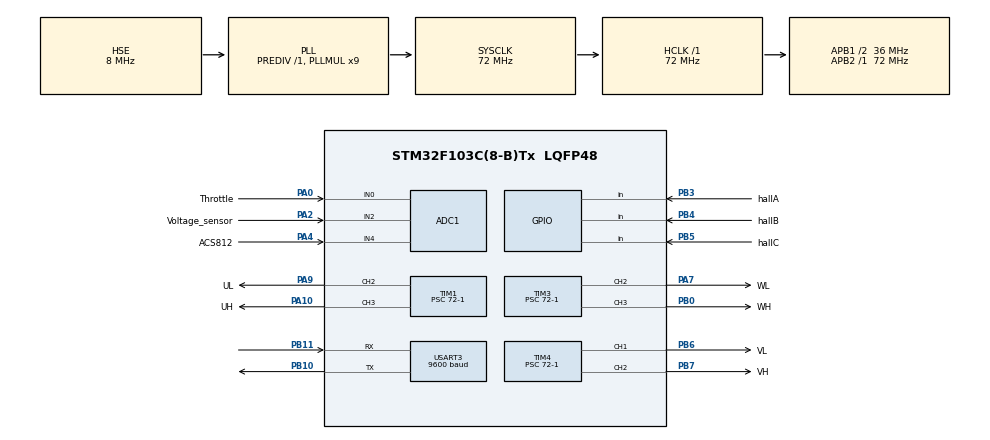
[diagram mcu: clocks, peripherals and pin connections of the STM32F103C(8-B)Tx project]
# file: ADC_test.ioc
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ADC1.Channel-0\#ChannelRegularConversion=ADC_CHANNEL_0
ADC1.Channel-3\#ChannelRegularConversion=ADC_CHANNEL_2
ADC1.Channel-4\#ChannelRegularConversion=ADC_CHANNEL_4
ADC1.ContinuousConvMode=ENABLE
ADC1.NbrOfConversion=3
ADC1.NbrOfConversionFlag=1
ADC1.Rank-0\#ChannelRegularConversion=1
ADC1.Rank-3\#ChannelRegularConversion=2
ADC1.Rank-4\#ChannelRegularConversion=3
ADC1.SamplingTime-0\#ChannelRegularConversion=ADC_SAMPLETIME_239CYCLES_5
ADC1.SamplingTime-3\#ChannelRegularConversion=ADC_SAMPLETIME_239CYCLES_5
ADC1.SamplingTime-4\#ChannelRegularConversion=ADC_SAMPLETIME_239CYCLES_5
ADC1.master=1
Dma.ADC1.0.Direction=DMA_PERIPH_TO_MEMORY
Dma.ADC1.0.Instance=DMA1_Channel1
Dma.ADC1.0.MemDataAlignment=DMA_MDATAALIGN_HALFWORD
Dma.ADC1.0.MemInc=DMA_MINC_ENABLE
Dma.ADC1.0.Mode=DMA_CIRCULAR
Dma.ADC1.0.PeriphDataAlignment=DMA_PDATAALIGN_HALFWORD
Dma.ADC1.0.PeriphInc=DMA_PINC_DISABLE
Dma.ADC1.0.Priority=DMA_PRIORITY_LOW
Dma.Request0=ADC1
Mcu.Family=STM32F1
Mcu.Name=STM32F103C(8-B)Tx
Mcu.Package=LQFP48
NVIC.ADC1_2_IRQn=true\:1\:0\:true\:false\:true\:true\:true\:true
NVIC.DMA1_Channel1_IRQn=true\:0\:0\:false\:false\:true\:false\:true\:true
NVIC.PriorityGroup=NVIC_PRIORITYGROUP_4
PA0-WKUP.GPIO_Label=Throttle
PA0-WKUP.Signal=ADCx_IN0
PA10.GPIO_Label=UH
PA10.Signal=S_TIM1_CH3
PA13.Mode=Serial_Wire
PA13.Signal=SYS_JTMS-SWDIO
PA14.Mode=Serial_Wire
PA14.Signal=SYS_JTCK-SWCLK
PA2.GPIO_Label=Voltage_sensor
PA2.Signal=ADCx_IN2
PA4.GPIO_Label=ACS812
PA4.Signal=ADCx_IN4
PA7.GPIO_Label=WL
PA7.Signal=S_TIM3_CH2
PA9.GPIO_Label=UL
PA9.Signal=S_TIM1_CH2
PB0.GPIO_Label=WH
PB0.Signal=S_TIM3_CH3
PB10.Mode=Asynchronous
PB10.Signal=USART3_TX
PB11.Mode=Asynchronous
PB11.Signal=USART3_RX
PB3.GPIO_Label=hallA
PB3.Signal=GPIO_Input
PB4.GPIO_Label=hallB
PB4.Signal=GPIO_Input
PB5.GPIO_Label=hallC
PB5.Signal=GPIO_Input
PB6.GPIO_Label=VL
PB6.Signal=S_TIM4_CH1
PB7.GPIO_Label=VH
PB7.Signal=S_TIM4_CH2
PD0-OSC_IN.Mode=HSE-External-Oscillator
PD0-OSC_IN.Signal=RCC_OSC_IN
PD1-OSC_OUT.Mode=HSE-External-Oscillator
PD1-OSC_OUT.Signal=RCC_OSC_OUT
ProjectManager.HeapSize=0x200
ProjectManager.StackSize=0x400
ProjectManager.TargetToolchain=STM32CubeIDE
RCC.ADCPresc=RCC_ADCPCLK2_DIV6
RCC.AHBFreq_Value=72000000
RCC.APB1CLKDivider=RCC_HCLK_DIV2
RCC.APB1Freq_Value=36000000
RCC.APB1TimFreq_Value=72000000
RCC.APB2Freq_Value=72000000
RCC.APB2TimFreq_Value=72000000
RCC.HCLKFreq_Value=72000000
RCC.PLLMUL=RCC_PLL_MUL9
RCC.PLLSourceVirtual=RCC_PLLSOURCE_HSE
RCC.SYSCLKFreq_VALUE=72000000
RCC.SYSCLKSource=RCC_SYSCLKSOURCE_PLLCLK
RCC.USBFreq_Value=72000000
SH.ADCx_IN0.0=ADC1_IN0,IN0
SH.ADCx_IN2.0=ADC1_IN2,IN2
SH.ADCx_IN4.0=ADC1_IN4,IN4
SH.S_TIM1_CH2.0=TIM1_CH2,PWM Generation2 CH2
SH.S_TIM1_CH3.0=TIM1_CH3,PWM Generation3 CH3
SH.S_TIM3_CH2.0=TIM3_CH2,PWM Generation2 CH2
SH.S_TIM3_CH3.0=TIM3_CH3,PWM Generation3 CH3
SH.S_TIM4_CH1.0=TIM4_CH1,PWM Generation1 CH1
SH.S_TIM4_CH2.0=TIM4_CH2,PWM Generation2 CH2
TIM1.AutoReloadPreload=TIM_AUTORELOAD_PRELOAD_ENABLE
TIM1.Channel-PWM\ Generation2\ CH2=TIM_CHANNEL_2
TIM1.Channel-PWM\ Generation3\ CH3=TIM_CHANNEL_3
TIM1.Period=100
TIM1.Prescaler=72-1
TIM2.Prescaler=72-1
TIM3.AutoReloadPreload=TIM_AUTORELOAD_PRELOAD_ENABLE
TIM3.Channel-PWM\ Generation2\ CH2=TIM_CHANNEL_2
TIM3.Channel-PWM\ Generation3\ CH3=TIM_CHANNEL_3
TIM3.Period=100
TIM3.Prescaler=72-1
TIM4.AutoReloadPreload=TIM_AUTORELOAD_PRELOAD_ENABLE
TIM4.Channel-PWM\ Generation1\ CH1=TIM_CHANNEL_1
TIM4.Channel-PWM\ Generation2\ CH2=TIM_CHANNEL_2
TIM4.Period=100
TIM4.Prescaler=72-1
USART3.BaudRate=9600
USART3.VirtualMode=VM_ASYNC
VP_TIM2_VS_ClockSourceINT.Mode=Internal
board=custom

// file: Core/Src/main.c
/* USER CODE BEGIN Header */
/**
  ******************************************************************************
  * @file           : main.c
  * @brief          : Main program body
  ******************************************************************************
  * @attention
  *
  * Copyright (c) 2025 STMicroelectronics.
  * All rights reserved.
  *
  * This software is licensed under terms that can be found in the LICENSE file
  * in the root directory of this software component.
  * If no LICENSE file comes with this software, it is provided AS-IS.
  *
  ******************************************************************************
  */
/* USER CODE END Header */
#include "main.h"

/* USER CODE BEGIN Includes */
#include "ACS758-050B.h"
#include "CAN.h"
#include "DMA_ADC.h"
#include "Hall_Sensor.h"
#include "Throttle.h"
#include "Voltage_sensor.h"
#include "Delay.h"
#include "BLDC.h"
#include "SoftThrottle.h"
#include "DWTTimer.h"
#include "PowerCal.h"

/* USER CODE END Includes */

/* USER CODE BEGIN PTD */

//uint32_t test = 0;

//uint16_t adc_value[3] ={0,0,0};
//uint16_t halla=0;
//uint16_t hallb=0;
//uint16_t hallc=0;
//uint16_t duty =0;
    uint32_t test_time;
    uint32_t test_time2;
    uint32_t test_time3;

/* USER CODE END PTD */

ADC_HandleTypeDef hadc1;
DMA_HandleTypeDef hdma_adc1;

TIM_HandleTypeDef htim1;
TIM_HandleTypeDef htim2;
TIM_HandleTypeDef htim3;
TIM_HandleTypeDef htim4;

UART_HandleTypeDef huart3;

void SystemClock_Config(void);
static void MX_GPIO_Init(void);
static void MX_DMA_Init(void);
static void MX_ADC1_Init(void);
static void MX_TIM4_Init(void);
static void MX_TIM2_Init(void);
static void MX_TIM1_Init(void);
static void MX_TIM3_Init(void);
static void MX_USART3_UART_Init(void);

int main(void)
{

  /* MCU Configuration--------------------------------------------------------*/

  /* Reset of all peripherals, Initializes the Flash interface and the Systick. */

	HAL_Init();

  /* Configure the system clock */
  SystemClock_Config();

  /* Initialize all configured peripherals */
  MX_GPIO_Init();
  MX_DMA_Init();
  MX_ADC1_Init();
  MX_TIM4_Init();
  MX_TIM2_Init();
  MX_TIM1_Init();
  MX_TIM3_Init();
  MX_USART3_UART_Init();
  /* USER CODE BEGIN 2 */

   HallSensor_Init();
   Throttle_Init();
   DMA_ADC_Init(&hadc1);
   VoltageSensor_Init();
   CurrentSensor_Init();
   DelayUs_init(&htim2);
   BLDC_Init();
   SoftThrottle_Init();
   DWT_Timer_Init();
   PowerMonitor_Init;

//   start_time = HAL_GetTick();
//   	 HAL_Delay(50);
//   	 elapsed_time = HAL_GetTick() - start_time;
  /* USER CODE END 2 */

  /* Infinite loop */
  /* USER CODE BEGIN WHILE */
  while (1)
  {

	  Throttle_Map();
	  SoftThrottle_Update();
	  VoltageSensor_Read();
	  CurrentSensor_Read();
	  BLDC_DecideStep();
	  BLDC_Comutate();
	  test_time3 = SoftThrottle_GetOutput();//for test
//	  PowerMonitor_Update();
    /* USER CODE END WHILE */

  }
}

void SystemClock_Config(void)
{
  RCC_OscInitTypeDef RCC_OscInitStruct = {0};
  RCC_ClkInitTypeDef RCC_ClkInitStruct = {0};
  RCC_PeriphCLKInitTypeDef PeriphClkInit = {0};

  /** Initializes the RCC Oscillators according to the specified parameters
  * in the RCC_OscInitTypeDef structure.
  */
  RCC_OscInitStruct.OscillatorType = RCC_OSCILLATORTYPE_HSE;
  RCC_OscInitStruct.HSEState = RCC_HSE_ON;
  RCC_OscInitStruct.HSEPredivValue = RCC_HSE_PREDIV_DIV1;
  RCC_OscInitStruct.HSIState = RCC_HSI_ON;
  RCC_OscInitStruct.PLL.PLLState = RCC_PLL_ON;
  RCC_OscInitStruct.PLL.PLLSource = RCC_PLLSOURCE_HSE;
  RCC_OscInitStruct.PLL.PLLMUL = RCC_PLL_MUL9;
  if (HAL_RCC_OscConfig(&RCC_OscInitStruct) != HAL_OK)
  {
    Error_Handler();
  }

  /** Initializes the CPU, AHB and APB buses clocks
  */
  RCC_ClkInitStruct.ClockType = RCC_CLOCKTYPE_HCLK|RCC_CLOCKTYPE_SYSCLK
                              |RCC_CLOCKTYPE_PCLK1|RCC_CLOCKTYPE_PCLK2;
  RCC_ClkInitStruct.SYSCLKSource = RCC_SYSCLKSOURCE_PLLCLK;
  RCC_ClkInitStruct.AHBCLKDivider = RCC_SYSCLK_DIV1;
  RCC_ClkInitStruct.APB1CLKDivider = RCC_HCLK_DIV2;
  RCC_ClkInitStruct.APB2CLKDivider = RCC_HCLK_DIV1;

  if (HAL_RCC_ClockConfig(&RCC_ClkInitStruct, FLASH_LATENCY_2) != HAL_OK)
  {
    Error_Handler();
  }
  PeriphClkInit.PeriphClockSelection = RCC_PERIPHCLK_ADC;
  PeriphClkInit.AdcClockSelection = RCC_ADCPCLK2_DIV6;
  if (HAL_RCCEx_PeriphCLKConfig(&PeriphClkInit) != HAL_OK)
  {
    Error_Handler();
  }
}

static void MX_ADC1_Init(void)
{

  ADC_ChannelConfTypeDef sConfig = {0};

  /** Common config
  */
  hadc1.Instance = ADC1;
  hadc1.Init.ScanConvMode = ADC_SCAN_ENABLE;
  hadc1.Init.ContinuousConvMode = ENABLE;
  hadc1.Init.DiscontinuousConvMode = DISABLE;
  hadc1.Init.ExternalTrigConv = ADC_SOFTWARE_START;
  hadc1.Init.DataAlign = ADC_DATAALIGN_RIGHT;
  hadc1.Init.NbrOfConversion = 3;
  if (HAL_ADC_Init(&hadc1) != HAL_OK)
  {
    Error_Handler();
  }

  /** Configure Regular Channel
  */
  sConfig.Channel = ADC_CHANNEL_0;
  sConfig.Rank = ADC_REGULAR_RANK_1;
  sConfig.SamplingTime = ADC_SAMPLETIME_239CYCLES_5;
  if (HAL_ADC_ConfigChannel(&hadc1, &sConfig) != HAL_OK)
  {
    Error_Handler();
  }

  /** Configure Regular Channel
  */
  sConfig.Channel = ADC_CHANNEL_2;
  sConfig.Rank = ADC_REGULAR_RANK_2;
  if (HAL_ADC_ConfigChannel(&hadc1, &sConfig) != HAL_OK)
  {
    Error_Handler();
  }

  /** Configure Regular Channel
  */
  sConfig.Channel = ADC_CHANNEL_4;
  sConfig.Rank = ADC_REGULAR_RANK_3;
  if (HAL_ADC_ConfigChannel(&hadc1, &sConfig) != HAL_OK)
  {
    Error_Handler();
  }

}

static void MX_TIM1_Init(void)
{

  TIM_MasterConfigTypeDef sMasterConfig = {0};
  TIM_OC_InitTypeDef sConfigOC = {0};
  TIM_BreakDeadTimeConfigTypeDef sBreakDeadTimeConfig = {0};

  htim1.Instance = TIM1;
  htim1.Init.Prescaler = 72-1;
  htim1.Init.CounterMode = TIM_COUNTERMODE_UP;
  htim1.Init.Period = 100;
  htim1.Init.ClockDivision = TIM_CLOCKDIVISION_DIV1;
  htim1.Init.RepetitionCounter = 0;
  htim1.Init.AutoReloadPreload = TIM_AUTORELOAD_PRELOAD_ENABLE;
  if (HAL_TIM_PWM_Init(&htim1) != HAL_OK)
  {
    Error_Handler();
  }
  sMasterConfig.MasterOutputTrigger = TIM_TRGO_RESET;
  sMasterConfig.MasterSlaveMode = TIM_MASTERSLAVEMODE_DISABLE;
  if (HAL_TIMEx_MasterConfigSynchronization(&htim1, &sMasterConfig) != HAL_OK)
  {
    Error_Handler();
  }
  sConfigOC.OCMode = TIM_OCMODE_PWM1;
  sConfigOC.Pulse = 0;
  sConfigOC.OCPolarity = TIM_OCPOLARITY_HIGH;
  sConfigOC.OCNPolarity = TIM_OCNPOLARITY_HIGH;
  sConfigOC.OCFastMode = TIM_OCFAST_DISABLE;
  sConfigOC.OCIdleState = TIM_OCIDLESTATE_RESET;
  sConfigOC.OCNIdleState = TIM_OCNIDLESTATE_RESET;
  if (HAL_TIM_PWM_ConfigChannel(&htim1, &sConfigOC, TIM_CHANNEL_2) != HAL_OK)
  {
    Error_Handler();
  }
  if (HAL_TIM_PWM_ConfigChannel(&htim1, &sConfigOC, TIM_CHANNEL_3) != HAL_OK)
  {
    Error_Handler();
  }
  sBreakDeadTimeConfig.OffStateRunMode = TIM_OSSR_DISABLE;
  sBreakDeadTimeConfig.OffStateIDLEMode = TIM_OSSI_DISABLE;
  sBreakDeadTimeConfig.LockLevel = TIM_LOCKLEVEL_OFF;
  sBreakDeadTimeConfig.DeadTime = 0;
  sBreakDeadTimeConfig.BreakState = TIM_BREAK_DISABLE;
  sBreakDeadTimeConfig.BreakPolarity = TIM_BREAKPOLARITY_HIGH;
  sBreakDeadTimeConfig.AutomaticOutput = TIM_AUTOMATICOUTPUT_DISABLE;
  if (HAL_TIMEx_ConfigBreakDeadTime(&htim1, &sBreakDeadTimeConfig) != HAL_OK)
  {
    Error_Handler();
  }
  HAL_TIM_MspPostInit(&htim1);

}

static void MX_TIM2_Init(void)
{

  TIM_ClockConfigTypeDef sClockSourceConfig = {0};
  TIM_MasterConfigTypeDef sMasterConfig = {0};

  htim2.Instance = TIM2;
  htim2.Init.Prescaler = 72-1;
  htim2.Init.CounterMode = TIM_COUNTERMODE_UP;
  htim2.Init.Period = 65535;
  htim2.Init.ClockDivision = TIM_CLOCKDIVISION_DIV1;
  htim2.Init.AutoReloadPreload = TIM_AUTORELOAD_PRELOAD_DISABLE;
  if (HAL_TIM_Base_Init(&htim2) != HAL_OK)
  {
    Error_Handler();
  }
  sClockSourceConfig.ClockSource = TIM_CLOCKSOURCE_INTERNAL;
  if (HAL_TIM_ConfigClockSource(&htim2, &sClockSourceConfig) != HAL_OK)
  {
    Error_Handler();
  }
  sMasterConfig.MasterOutputTrigger = TIM_TRGO_RESET;
  sMasterConfig.MasterSlaveMode = TIM_MASTERSLAVEMODE_DISABLE;
  if (HAL_TIMEx_MasterConfigSynchronization(&htim2, &sMasterConfig) != HAL_OK)
  {
    Error_Handler();
  }

}

static void MX_TIM3_Init(void)
{

  TIM_MasterConfigTypeDef sMasterConfig = {0};
  TIM_OC_InitTypeDef sConfigOC = {0};

  htim3.Instance = TIM3;
  htim3.Init.Prescaler = 72-1;
  htim3.Init.CounterMode = TIM_COUNTERMODE_UP;
  htim3.Init.Period = 100;
  htim3.Init.ClockDivision = TIM_CLOCKDIVISION_DIV1;
  htim3.Init.AutoReloadPreload = TIM_AUTORELOAD_PRELOAD_ENABLE;
  if (HAL_TIM_PWM_Init(&htim3) != HAL_OK)
  {
    Error_Handler();
  }
  sMasterConfig.MasterOutputTrigger = TIM_TRGO_RESET;
  sMasterConfig.MasterSlaveMode = TIM_MASTERSLAVEMODE_DISABLE;
  if (HAL_TIMEx_MasterConfigSynchronization(&htim3, &sMasterConfig) != HAL_OK)
  {
    Error_Handler();
  }
  sConfigOC.OCMode = TIM_OCMODE_PWM1;
  sConfigOC.Pulse = 0;
  sConfigOC.OCPolarity = TIM_OCPOLARITY_HIGH;
  sConfigOC.OCFastMode = TIM_OCFAST_DISABLE;
  if (HAL_TIM_PWM_ConfigChannel(&htim3, &sConfigOC, TIM_CHANNEL_2) != HAL_OK)
  {
    Error_Handler();
  }
  if (HAL_TIM_PWM_ConfigChannel(&htim3, &sConfigOC, TIM_CHANNEL_3) != HAL_OK)
  {
    Error_Handler();
  }
  HAL_TIM_MspPostInit(&htim3);

}

static void MX_TIM4_Init(void)
{

  TIM_MasterConfigTypeDef sMasterConfig = {0};
  TIM_OC_InitTypeDef sConfigOC = {0};

  htim4.Instance = TIM4;
  htim4.Init.Prescaler = 72-1;
  htim4.Init.CounterMode = TIM_COUNTERMODE_UP;
  htim4.Init.Period = 100;
  htim4.Init.ClockDivision = TIM_CLOCKDIVISION_DIV1;
  htim4.Init.AutoReloadPreload = TIM_AUTORELOAD_PRELOAD_ENABLE;
  if (HAL_TIM_PWM_Init(&htim4) != HAL_OK)
  {
    Error_Handler();
  }
  sMasterConfig.MasterOutputTrigger = TIM_TRGO_RESET;
  sMasterConfig.MasterSlaveMode = TIM_MASTERSLAVEMODE_DISABLE;
  if (HAL_TIMEx_MasterConfigSynchronization(&htim4, &sMasterConfig) != HAL_OK)
  {
    Error_Handler();
  }
  sConfigOC.OCMode = TIM_OCMODE_PWM1;
  sConfigOC.Pulse = 0;
  sConfigOC.OCPolarity = TIM_OCPOLARITY_HIGH;
  sConfigOC.OCFastMode = TIM_OCFAST_DISABLE;
  if (HAL_TIM_PWM_ConfigChannel(&htim4, &sConfigOC, TIM_CHANNEL_1) != HAL_OK)
  {
    Error_Handler();
  }
  if (HAL_TIM_PWM_ConfigChannel(&htim4, &sConfigOC, TIM_CHANNEL_2) != HAL_OK)
  {
    Error_Handler();
  }
  HAL_TIM_MspPostInit(&htim4);

}

static void MX_USART3_UART_Init(void)
{

  huart3.Instance = USART3;
  huart3.Init.BaudRate = 9600;
  huart3.Init.WordLength = UART_WORDLENGTH_8B;
  huart3.Init.StopBits = UART_STOPBITS_1;
  huart3.Init.Parity = UART_PARITY_NONE;
  huart3.Init.Mode = UART_MODE_TX_RX;
  huart3.Init.HwFlowCtl = UART_HWCONTROL_NONE;
  huart3.Init.OverSampling = UART_OVERSAMPLING_16;
  if (HAL_UART_Init(&huart3) != HAL_OK)
  {
    Error_Handler();
  }

}

static void MX_DMA_Init(void)
{

  /* DMA controller clock enable */
  __HAL_RCC_DMA1_CLK_ENABLE();

  /* DMA interrupt init */
  /* DMA1_Channel1_IRQn interrupt configuration */
  HAL_NVIC_SetPriority(DMA1_Channel1_IRQn, 0, 0);
  HAL_NVIC_EnableIRQ(DMA1_Channel1_IRQn);

}

static void MX_GPIO_Init(void)
{
  GPIO_InitTypeDef GPIO_InitStruct = {0};

  /* GPIO Ports Clock Enable */
  __HAL_RCC_GPIOD_CLK_ENABLE();
  __HAL_RCC_GPIOA_CLK_ENABLE();
  __HAL_RCC_GPIOB_CLK_ENABLE();

  /*Configure GPIO pins : hallA_Pin hallB_Pin hallC_Pin */
  GPIO_InitStruct.Pin = hallA_Pin|hallB_Pin|hallC_Pin;
  GPIO_InitStruct.Mode = GPIO_MODE_INPUT;
  GPIO_InitStruct.Pull = GPIO_NOPULL;
  HAL_GPIO_Init(GPIOB, &GPIO_InitStruct);

}

/* USER CODE BEGIN 4 */
void HAL_ADC_ConvCpltCallback(ADC_HandleTypeDef* hadc)
 {
   /* Prevent unused argument(s) compilation warning */

   /* NOTE : This function should not be modified. When the callback is needed,
             function HAL_ADC_ConvCpltCallback must be implemented in the user file.
    */
 }
/* USER CODE END 4 */

void Error_Handler(void)
{
  __disable_irq();
  while (1)
  {
  }
}
